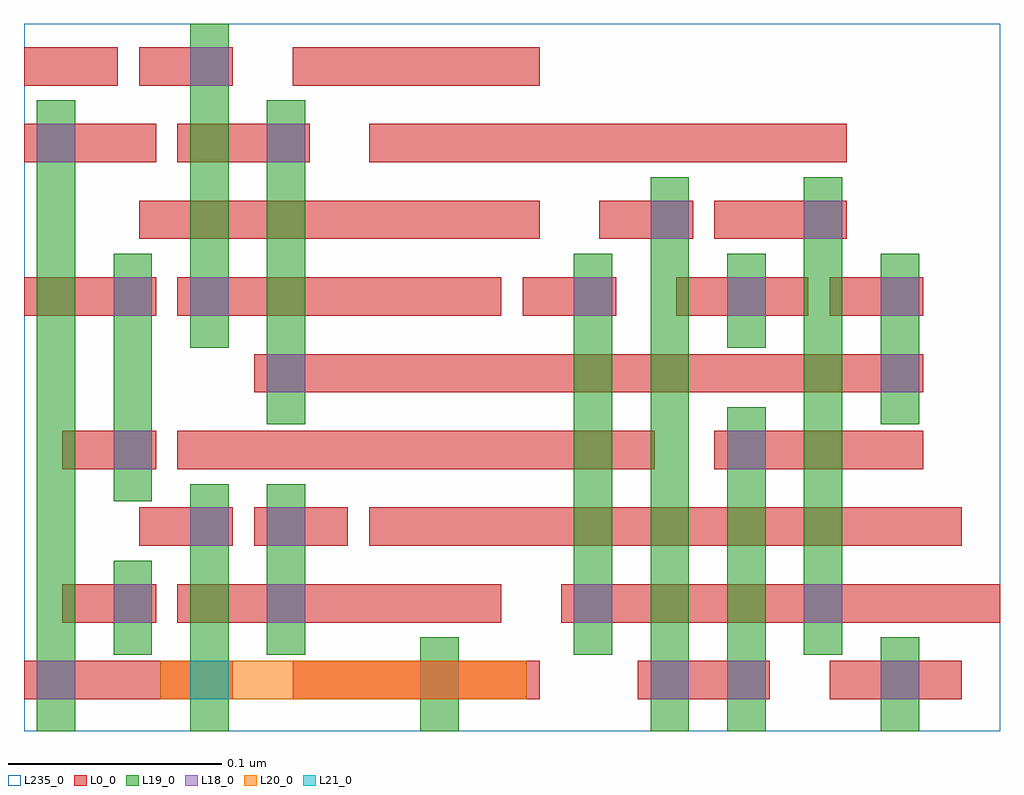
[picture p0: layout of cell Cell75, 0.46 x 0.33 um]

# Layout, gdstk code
import gdstk
lib = gdstk.Library(unit=1e-6, precision=2.5e-10)
def R(c, l, rs):  # rectangles x0, y0, x1, y1
    for r in rs: c.add(gdstk.rectangle(r[:2], r[2:], *l))
def A(c, l, x, y, w, h, nx, ny, dx, dy):  # array of equal rectangles
    R(c, l, [(x+i*dx, y+j*dy, x+i*dx+w, y+j*dy+h) for i in range(nx) for j in range(ny)])
L0_0 = (0, 0)
L18_0 = (18, 0)
L19_0 = (19, 0)
L20_0 = (20, 0)
L21_0 = (21, 0)
L235_0 = (235, 0)

cell75 = lib.new_cell('Cell75')
R(cell75, L0_0, [(0.004,-0.001,0.102,0.017), (0.13,-0.001,0.246,0.017), (0.292,-0.001,0.354,0.017), (0.382,-0.001,0.444,0.017), (0.022,0.035,0.066,0.053), (0.076,0.035,0.228,0.053), (0.256,0.035,0.462,0.053), (0.058,0.071,0.102,0.089), (0.112,0.071,0.156,0.089), (0.166,0.071,0.444,0.089), (0.022,0.107,0.066,0.125), (0.076,0.107,0.3,0.125), (0.328,0.107,0.426,0.125), (0.112,0.143,0.426,0.161), (0.004,0.179,0.066,0.197), (0.076,0.179,0.228,0.197), (0.238,0.179,0.282,0.197), (0.31,0.179,0.372,0.197), (0.382,0.179,0.426,0.197), (0.058,0.215,0.246,0.233), (0.274,0.215,0.318,0.233), (0.328,0.215,0.39,0.233), (0.004,0.251,0.066,0.269), (0.076,0.251,0.138,0.269), (0.166,0.251,0.39,0.269), (0.004,0.287,0.048,0.305), (0.058,0.287,0.102,0.305), (0.13,0.287,0.246,0.305)])
A(cell75, L18_0, 0.046, 0.035, 0.018, 0.018, 1, 3, 0, 0.072)
A(cell75, L18_0, 0.082, 0.071, 0.018, 0.018, 1, 3, 0, 0.108)
A(cell75, L18_0, 0.262, 0.179, 0.018, 0.018, 3, 1, 0.072, 0)
R(cell75, L18_0, [(0.01,-0.001,0.028,0.017), (0.19,-0.001,0.208,0.017), (0.298,-0.001,0.316,0.017), (0.334,-0.001,0.352,0.017), (0.406,-0.001,0.424,0.017), (0.118,0.035,0.136,0.053), (0.262,0.035,0.28,0.053), (0.37,0.035,0.388,0.053), (0.118,0.071,0.136,0.089), (0.334,0.107,0.352,0.125), (0.118,0.143,0.136,0.161), (0.406,0.143,0.424,0.161), (0.298,0.215,0.316,0.233), (0.37,0.215,0.388,0.233), (0.01,0.251,0.028,0.269), (0.118,0.251,0.136,0.269)])
R(cell75, L19_0, [(0.01,-0.016,0.028,0.28), (0.082,-0.016,0.1,0.1), (0.19,-0.016,0.208,0.028), (0.298,-0.016,0.316,0.244), (0.334,-0.016,0.352,0.136), (0.406,-0.016,0.424,0.028), (0.046,0.02,0.064,0.064), (0.118,0.02,0.136,0.1), (0.262,0.02,0.28,0.208), (0.37,0.02,0.388,0.244), (0.046,0.092,0.064,0.208), (0.118,0.128,0.136,0.28), (0.406,0.128,0.424,0.208), (0.082,0.164,0.1,0.316), (0.334,0.164,0.352,0.208)])
R(cell75, L20_0, [(0.068,-0.001,0.24,0.017)])
R(cell75, L21_0, [(0.082,-0.001,0.1,0.017)])
R(cell75, L235_0, [(0.004,-0.016,0.462,0.316)])

lib.write_gds('Cell75.gds')
